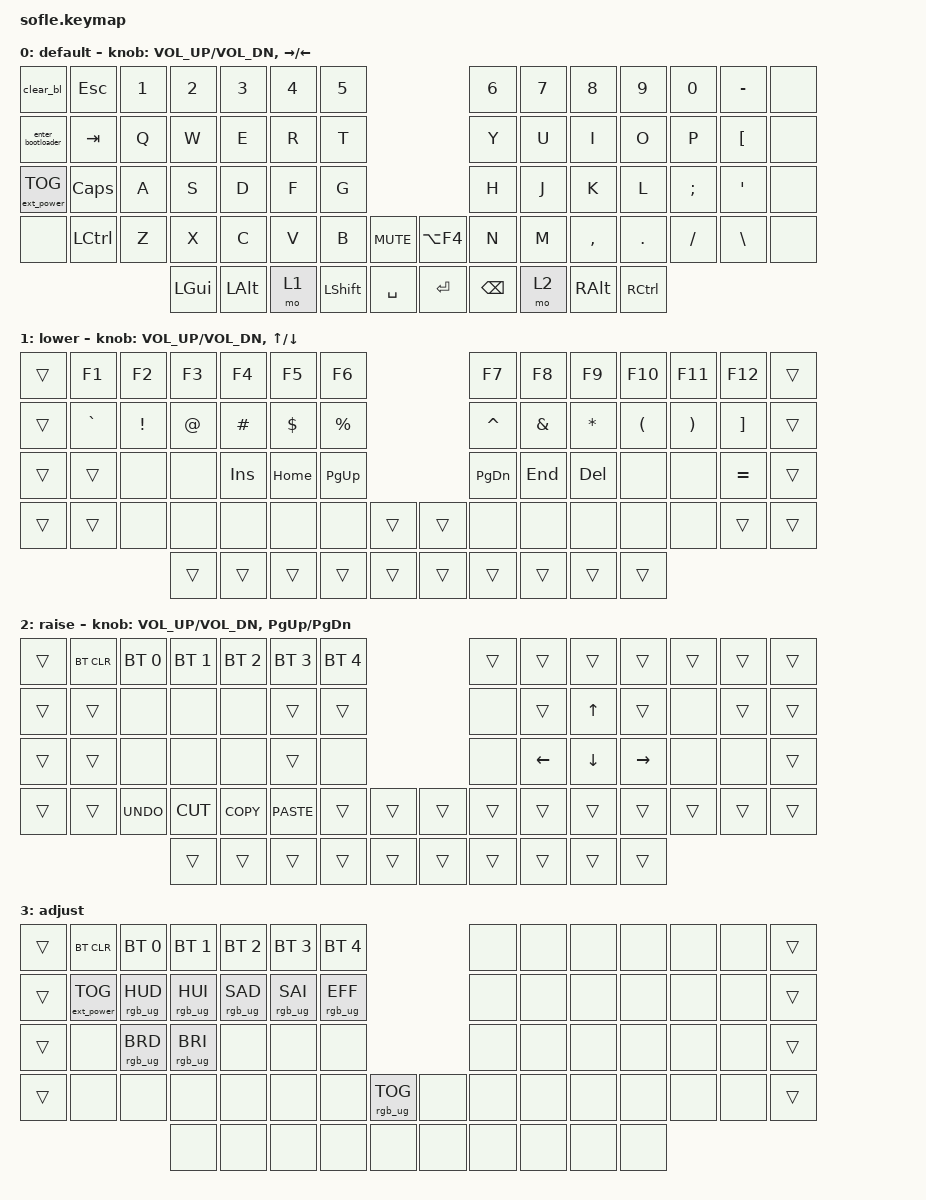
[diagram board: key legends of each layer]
#include <behaviors.dtsi>
#include <dt-bindings/zmk/bt.h>
#include <dt-bindings/zmk/ext_power.h>
#include <dt-bindings/zmk/keys.h>
#include <dt-bindings/zmk/rgb.h>

#define BASE 0
#define LOWER 1
#define RAISE 2
#define ADJUST 3

/ {
    // Activate ADJUST layer by pressing raise and lower

    conditional_layers {
        compatible = "zmk,conditional-layers";

        adjust_layer {
            if-layers = <LOWER RAISE>;
            then-layer = <ADJUST>;
        };
    };

    macros {
        clear_bl: clear_bl {
            compatible = "zmk,behavior-macro";
            #binding-cells = <0>;
            bindings = <&none &kp B &kp L &kp U &kp E &kp T &kp O &kp O &kp T &kp H &kp SPACE &kp C &kp L &kp E &kp A &kp R &kp E &kp D &bt BT_CLR>;
            label = "CLEAR_BL";
        };

        enter_bootloader: enter_bootloader {
            compatible = "zmk,behavior-macro";
            #binding-cells = <0>;
            bindings = <&none &kp E &kp N &kp T &kp E &kp R &kp E &kp D &kp SPACE &kp B &kp O &kp O &kp T &kp L &kp O &kp A &kp D &kp E &kp R &kp EXCL &kp SPACE &kp P &kp L &kp E &kp A &kp S &kp E &kp SPACE &kp U &kp P &kp D &kp A &kp T &kp E &kp SPACE &kp T &kp H &kp E &kp SPACE &kp F &kp I &kp R &kp M &kp W &kp A &kp R &kp E &kp SPACE &kp U &kp S &kp I &kp N &kp G &kp SPACE &kp D &kp R &kp A &kp G &kp AMPS &kp D &kp R &kp O &kp P &kp SPACE &kp O &kp R &kp SPACE &kp R &kp E &kp S &kp E &kp T &kp SPACE &kp K &kp E &kp Y &kp B &kp O &kp A &kp R &kp D &bootloader>;
            label = "ENTER_BOOTLOADER";
        };
    };

    keymap {
        compatible = "zmk,keymap";

        default_layer {
            display-name = "default";

            // ------------------------------------------------------------------------------------------------------------
            // |   `   |  1  |  2  |  3   |  4   |  5   |                   |  6   |  7    |  8    |  9   |   0   |       |
            // |  ESC  |  Q  |  W  |  E   |  R   |  T   |                   |  Y   |  U    |  I    |  O   |   P   | BKSPC |
            // |  TAB  |  A  |  S  |  D   |  F   |  G   |                   |  H   |  J    |  K    |  L   |   ;   |   '   |
            // | SHIFT |  Z  |  X  |  C   |  V   |  B   |  MUTE  |  |       |  N   |  M    |  ,    |  .   |   /   | SHIFT |
            //               | GUI | ALT  | CTRL | LOWER|  ENTER |  | SPACE | RAISE| CTRL  | ALT   | GUI  |

            bindings = <
&clear_bl          &kp ESC    &kp N1  &kp N2    &kp N3    &kp N4  &kp N5                             &kp N6         &kp N7  &kp N8     &kp N9     &kp N0    &kp MINUS      &none
&enter_bootloader  &kp TAB    &kp Q   &kp W     &kp E     &kp R   &kp T                              &kp Y          &kp U   &kp I      &kp O      &kp P     &kp LBKT       &none
&ext_power EP_TOG  &kp CAPS   &kp A   &kp S     &kp D     &kp F   &kp G                              &kp H          &kp J   &kp K      &kp L      &kp SEMI  &kp SQT        &none
&none              &kp LCTRL  &kp Z   &kp X     &kp C     &kp V   &kp B      &kp C_MUTE  &kp LA(F4)  &kp N          &kp M   &kp COMMA  &kp DOT    &kp FSLH  &kp BACKSLASH  &none
                                      &kp LGUI  &kp LALT  &mo 1   &kp LSHFT  &kp SPACE   &kp ENTER   &kp BACKSPACE  &mo 2   &kp RALT   &kp RCTRL
            >;

            sensor-bindings =
                <&inc_dec_kp C_VOL_UP C_VOL_DN>,
                <&inc_dec_kp RIGHT LEFT_ARROW>;
        };

        lower_layer {
            display-name = "lower";

            // TODO: Some binds are waiting for shifted keycode support.
            // ------------------------------------------------------------------------------------------------------------
            // |       |  F1 |  F2 |  F3  |  F4  |  F5  |                   |  F6  |  F7   |  F8   |  F9  |  F10  |  F11  |
            // |   `   |  1  |  2  |  3   |  4   |  5   |                   |  6   |  7    |  8    |  9   |   0   |  F12  |
            // |       |  !  |  @  |  #   |  $   |  %   |                   |  ^   |  &    |  *    |  (   |   )   |   |   |
            // |       |  =  |  -  |  +   |  {   |  }   |        |  |       |  [   |  ]    |  ;    |  :   |   \   |       |
            //               |     |      |      |      |        |  |       |      |       |       |      |

            bindings = <
&trans  &kp F1     &kp F2    &kp F3  &kp F4    &kp F5    &kp F6                     &kp F7         &kp F8    &kp F9      &kp F10   &kp F11   &kp F12            &trans
&trans  &kp GRAVE  &kp EXCL  &kp AT  &kp HASH  &kp DLLR  &kp PRCNT                  &kp CARET      &kp AMPS  &kp STAR    &kp LPAR  &kp RPAR  &kp RIGHT_BRACKET  &trans
&trans  &trans     &none     &none   &kp INS   &kp HOME  &kp PG_UP                  &kp PAGE_DOWN  &kp END   &kp DELETE  &none     &none     &kp EQUAL          &trans
&trans  &trans     &none     &none   &none     &none     &none      &trans  &trans  &none          &none     &none       &none     &none     &trans             &trans
                             &trans  &trans    &trans    &trans     &trans  &trans  &trans         &trans    &trans      &trans
            >;

            sensor-bindings =
                <&inc_dec_kp C_VOL_UP C_VOL_DN>,
                <&inc_dec_kp UP DOWN>;
        };

        raise_layer {
            display-name = "raise";

            // ------------------------------------------------------------------------------------------------------------
            // | BTCLR | BT1  | BT2  |  BT3  |  BT4  |  BT5 |                |      |      |       |      |       |       |
            // |       | INS  | PSCR | GUI   |       |      |                | PGUP |      |   ^   |      |       |       |
            // |       | ALT  | CTRL | SHIFT |       | CAPS |                | PGDN |   <- |   v   |  ->  |  DEL  | BKSPC |
            // |       | UNDO | CUT  | COPY  | PASTE |      |      |  |      |      |      |       |      |       |       |
            //                |      |       |       |      |      |  |      |      |      |       |      |

            bindings = <
&trans  &bt BT_CLR  &bt BT_SEL 0  &bt BT_SEL 1  &bt BT_SEL 2  &bt BT_SEL 3  &bt BT_SEL 4                  &trans  &trans    &trans    &trans     &trans  &trans  &trans
&trans  &trans      &none         &none         &none         &trans        &trans                        &none   &trans    &kp UP    &trans     &none   &trans  &trans
&trans  &trans      &none         &none         &none         &trans        &none                         &none   &kp LEFT  &kp DOWN  &kp RIGHT  &none   &none   &trans
&trans  &trans      &kp K_UNDO    &kp K_CUT     &kp K_COPY    &kp K_PASTE   &trans        &trans  &trans  &trans  &trans    &trans    &trans     &trans  &trans  &trans
                                  &trans        &trans        &trans        &trans        &trans  &trans  &trans  &trans    &trans    &trans
            >;

            sensor-bindings = <&inc_dec_kp C_VOL_UP C_VOL_DN &inc_dec_kp PG_UP PG_DN>;
        };

        adjust_layer {
            // ----------------------------------------------------------------------------------------------------------------------------
            // | BTCLR  |  BT1    |  BT2    |   BT3   |   BT4   |   BT5   |                  |      |      |       |      |       |       |
            // | EXTPWR | RGB_HUD | RGB_HUI | RGB_SAD | RGB_SAI | RGB_EFF |                  |      |      |       |      |       |       |
            // |        | RGB_BRD | RGB_BRI |         |         |         |                  |      |      |       |      |       |       |
            // |        |         |         |         |         |         | RGB_TOG | |      |      |      |       |      |       |       |
            //                    |         |         |         |         |         | |      |      |      |       |      |

            display-name = "adjust";
            bindings = <
&trans  &bt BT_CLR         &bt BT_SEL 0     &bt BT_SEL 1     &bt BT_SEL 2     &bt BT_SEL 3     &bt BT_SEL 4                             &none  &none  &none  &none  &none  &none  &trans
&trans  &ext_power EP_TOG  &rgb_ug RGB_HUD  &rgb_ug RGB_HUI  &rgb_ug RGB_SAD  &rgb_ug RGB_SAI  &rgb_ug RGB_EFF                          &none  &none  &none  &none  &none  &none  &trans
&trans  &none              &rgb_ug RGB_BRD  &rgb_ug RGB_BRI  &none            &none            &none                                    &none  &none  &none  &none  &none  &none  &trans
&trans  &none              &none            &none            &none            &none            &none            &rgb_ug RGB_TOG  &none  &none  &none  &none  &none  &none  &none  &trans
                                            &none            &none            &none            &none            &none            &none  &none  &none  &none  &none
            >;
        };
    };
};
